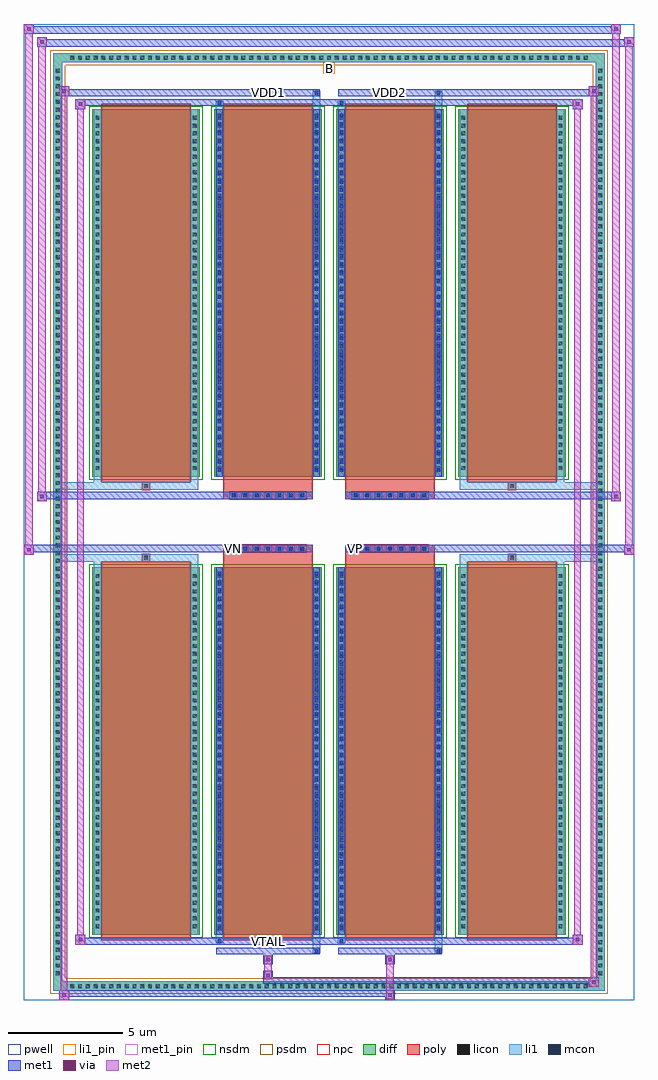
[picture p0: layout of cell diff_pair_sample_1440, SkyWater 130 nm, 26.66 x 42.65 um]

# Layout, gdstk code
import gdstk
lib = gdstk.Library(unit=1e-6, precision=5e-09)
def R(c, l, rs):  # rectangles x0, y0, x1, y1
    for r in rs: c.add(gdstk.rectangle(r[:2], r[2:], *l))
def A(c, l, x, y, w, h, nx, ny, dx, dy):  # array of equal rectangles
    R(c, l, [(x+i*dx, y+j*dy, x+i*dx+w, y+j*dy+h) for i in range(nx) for j in range(ny)])
def P(c, l, *ps):  # polygons
    for p in ps: c.add(gdstk.Polygon(p, *l))
pwell = (64, 44)
diff = (65, 20)
poly = (66, 20)
licon = (66, 44)
li1_pin = (67, 16)
li1 = (67, 20)
mcon = (67, 44)
met1_pin = (68, 16)
met1 = (68, 20)
via = (68, 44)
met2 = (69, 20)
nsdm = (93, 44)
psdm = (94, 20)
npc = (95, 20)

diff_pair_sample_1440 = lib.new_cell('diff_pair_sample_1440')
R(diff_pair_sample_1440, pwell, [(-13.33,-20.89,13.33,21.76), (-10.65,-19.08,-0.01,-0.8), (0.01,-19.08,10.65,-0.8), (-10.65,0.8,-0.01,19.08), (0.01,0.8,10.65,19.08)])
A(diff_pair_sample_1440, diff, -11.425, -20.49, 0.41, 0.41, 67, 2, 0.34, 40.57)
A(diff_pair_sample_1440, diff, -12.06, -19.925, 0.41, 0.41, 1, 117, 0, 0.34)
A(diff_pair_sample_1440, diff, 11.65, -19.925, 0.41, 0.41, 1, 117, 0, 0.34)
A(diff_pair_sample_1440, diff, -10.34, -18.035, 4.69, 16.05, 4, 2, 5.33, 20.02)
R(diff_pair_sample_1440, diff, [(-11.425,-20.49,11.425,-20.08), (-12.06,-19.925,-11.65,19.925), (11.65,-19.925,12.06,19.925), (-11.425,20.08,11.425,20.49)])
P(diff_pair_sample_1440, diff, [(12.06,20.49),(-12.06,20.49),(-12.06,-20.08),(-11.65,-20.08),(-11.65,20.08),(11.65,20.08),(11.65,-20.08),(-11.65,-20.08),(-12.06,-20.08),(-12.06,-20.49),(12.06,-20.49)])
A(diff_pair_sample_1440, poly, -9.95, -18.285, 3.91, 16.55, 4, 2, 5.33, 20.02)
A(diff_pair_sample_1440, poly, -4.33, -1.33, 0.33, 0.33, 7, 2, 0.5, 2.33)
A(diff_pair_sample_1440, poly, 1, -1.33, 0.33, 0.33, 7, 2, 0.5, 2.33)
R(diff_pair_sample_1440, poly, [(-8.16,-1.735,-7.83,-1.405), (-8.16,-1.735,-7.83,-1.405), (-4.62,-1.735,-0.71,-1.33), (0.71,-1.735,4.62,-1.33), (7.83,-1.735,8.16,-1.405), (7.83,-1.735,8.16,-1.405), (-4.62,-1.33,-0.71,-1), (0.71,-1.33,4.62,-1), (-4.62,1,-0.71,1.33), (0.71,1,4.62,1.33), (-4.62,1.33,-0.71,1.735), (0.71,1.33,4.62,1.735), (-8.16,1.405,-7.83,1.735), (-8.16,1.405,-7.83,1.735), (7.83,1.405,8.16,1.735), (7.83,1.405,8.16,1.735)])
A(diff_pair_sample_1440, licon, -11.305, -20.37, 0.17, 0.17, 67, 2, 0.34, 40.57)
A(diff_pair_sample_1440, licon, -11.94, -19.805, 0.17, 0.17, 1, 117, 0, 0.34)
A(diff_pair_sample_1440, licon, 11.77, -19.805, 0.17, 0.17, 1, 117, 0, 0.34)
A(diff_pair_sample_1440, licon, -10.2, -17.745, 0.17, 0.17, 1, 46, 0, 0.34)
A(diff_pair_sample_1440, licon, -5.96, -17.745, 0.17, 0.17, 1, 46, 0, 0.34)
A(diff_pair_sample_1440, licon, -4.87, -17.745, 0.17, 0.17, 1, 46, 0, 0.34)
A(diff_pair_sample_1440, licon, -0.63, -17.745, 0.17, 0.17, 1, 46, 0, 0.34)
A(diff_pair_sample_1440, licon, 0.46, -17.745, 0.17, 0.17, 1, 46, 0, 0.34)
A(diff_pair_sample_1440, licon, 4.7, -17.745, 0.17, 0.17, 1, 46, 0, 0.34)
A(diff_pair_sample_1440, licon, 5.79, -17.745, 0.17, 0.17, 1, 46, 0, 0.34)
A(diff_pair_sample_1440, licon, 10.03, -17.745, 0.17, 0.17, 1, 46, 0, 0.34)
A(diff_pair_sample_1440, licon, -4.25, -1.25, 0.17, 0.17, 7, 2, 0.5, 2.33)
A(diff_pair_sample_1440, licon, 1.08, -1.25, 0.17, 0.17, 7, 2, 0.5, 2.33)
A(diff_pair_sample_1440, licon, -10.2, 2.275, 0.17, 0.17, 1, 46, 0, 0.34)
A(diff_pair_sample_1440, licon, -5.96, 2.275, 0.17, 0.17, 1, 46, 0, 0.34)
A(diff_pair_sample_1440, licon, -4.87, 2.275, 0.17, 0.17, 1, 46, 0, 0.34)
A(diff_pair_sample_1440, licon, -0.63, 2.275, 0.17, 0.17, 1, 46, 0, 0.34)
A(diff_pair_sample_1440, licon, 0.46, 2.275, 0.17, 0.17, 1, 46, 0, 0.34)
A(diff_pair_sample_1440, licon, 4.7, 2.275, 0.17, 0.17, 1, 46, 0, 0.34)
A(diff_pair_sample_1440, licon, 5.79, 2.275, 0.17, 0.17, 1, 46, 0, 0.34)
A(diff_pair_sample_1440, licon, 10.03, 2.275, 0.17, 0.17, 1, 46, 0, 0.34)
R(diff_pair_sample_1440, licon, [(-8.08,-1.655,-7.91,-1.485), (7.91,-1.655,8.08,-1.485), (-8.08,1.485,-7.91,1.655), (7.91,1.485,8.08,1.655)])
R(diff_pair_sample_1440, li1_pin, [(-0.25,19.58,0.25,20.08)])
A(diff_pair_sample_1440, li1, -11.385, -20.45, 0.33, 0.33, 67, 2, 0.34, 40.57)
A(diff_pair_sample_1440, li1, -12.02, -19.885, 0.33, 0.33, 1, 117, 0, 0.34)
A(diff_pair_sample_1440, li1, 11.69, -19.885, 0.33, 0.33, 1, 117, 0, 0.34)
A(diff_pair_sample_1440, li1, -4.87, -17.835, 0.17, 0.17, 1, 44, 0, 0.36)
A(diff_pair_sample_1440, li1, -0.63, -17.835, 0.17, 0.17, 1, 44, 0, 0.36)
A(diff_pair_sample_1440, li1, 0.46, -17.835, 0.17, 0.17, 1, 44, 0, 0.36)
A(diff_pair_sample_1440, li1, 4.7, -17.835, 0.17, 0.17, 1, 44, 0, 0.36)
A(diff_pair_sample_1440, li1, -10.28, -17.825, 0.33, 0.33, 1, 46, 0, 0.34)
A(diff_pair_sample_1440, li1, -6.04, -17.825, 0.33, 0.33, 1, 46, 0, 0.34)
A(diff_pair_sample_1440, li1, -4.95, -17.825, 0.33, 0.33, 1, 46, 0, 0.34)
A(diff_pair_sample_1440, li1, -0.71, -17.825, 0.33, 0.33, 1, 46, 0, 0.34)
A(diff_pair_sample_1440, li1, 0.38, -17.825, 0.33, 0.33, 1, 46, 0, 0.34)
A(diff_pair_sample_1440, li1, 4.62, -17.825, 0.33, 0.33, 1, 46, 0, 0.34)
A(diff_pair_sample_1440, li1, 5.71, -17.825, 0.33, 0.33, 1, 46, 0, 0.34)
A(diff_pair_sample_1440, li1, 9.95, -17.825, 0.33, 0.33, 1, 46, 0, 0.34)
A(diff_pair_sample_1440, li1, -4.33, -1.33, 0.33, 0.33, 7, 2, 0.5, 2.33)
A(diff_pair_sample_1440, li1, 1, -1.33, 0.33, 0.33, 7, 2, 0.5, 2.33)
A(diff_pair_sample_1440, li1, -4.87, 2.185, 0.17, 0.17, 1, 44, 0, 0.36)
A(diff_pair_sample_1440, li1, -0.63, 2.185, 0.17, 0.17, 1, 44, 0, 0.36)
A(diff_pair_sample_1440, li1, 0.46, 2.185, 0.17, 0.17, 1, 44, 0, 0.36)
A(diff_pair_sample_1440, li1, 4.7, 2.185, 0.17, 0.17, 1, 44, 0, 0.36)
A(diff_pair_sample_1440, li1, -10.28, 2.195, 0.33, 0.33, 1, 46, 0, 0.34)
A(diff_pair_sample_1440, li1, -6.04, 2.195, 0.33, 0.33, 1, 46, 0, 0.34)
A(diff_pair_sample_1440, li1, -4.95, 2.195, 0.33, 0.33, 1, 46, 0, 0.34)
A(diff_pair_sample_1440, li1, -0.71, 2.195, 0.33, 0.33, 1, 46, 0, 0.34)
A(diff_pair_sample_1440, li1, 0.38, 2.195, 0.33, 0.33, 1, 46, 0, 0.34)
A(diff_pair_sample_1440, li1, 4.62, 2.195, 0.33, 0.33, 1, 46, 0, 0.34)
A(diff_pair_sample_1440, li1, 5.71, 2.195, 0.33, 0.33, 1, 46, 0, 0.34)
A(diff_pair_sample_1440, li1, 9.95, 2.195, 0.33, 0.33, 1, 46, 0, 0.34)
R(diff_pair_sample_1440, li1, [(-12.06,-20.49,-11.65,-20.08), (-12.06,-20.49,-11.65,-20.08), (-11.65,-20.49,11.65,-20.08), (11.65,-20.49,12.06,-20.08), (11.65,-20.49,12.06,-20.08), (-12.06,-20.08,-11.65,20.08), (11.65,-20.08,12.06,20.08), (-0.71,-18.84,-0.38,-18.035), (-0.63,-18.84,-0.46,-18.67), (4.62,-18.84,4.95,-18.035), (4.7,-18.84,4.87,-18.67), (-4.95,-18.41,-4.62,-18.035), (-4.87,-18.41,-4.7,-18.24), (0.38,-18.41,0.71,-18.035), (0.46,-18.41,0.63,-18.24), (-10.28,-18.035,-9.95,-1.985), (-6.04,-18.035,-5.71,-1.985), (-4.95,-18.035,-4.62,-1.985), (-0.71,-18.035,-0.38,-1.985), (0.38,-18.035,0.71,-1.985), (4.62,-18.035,4.95,-1.985), (5.71,-18.035,6.04,-1.985), (9.95,-18.035,10.28,-1.985), (-4.87,-17.835,-4.7,-2.185), (-0.63,-17.835,-0.46,-2.185), (0.46,-17.835,0.63,-2.185), (4.7,-17.835,4.87,-2.185), (-10.28,-1.985,-9.95,-1.405), (-6.04,-1.985,-5.71,-1.405), (5.71,-1.985,6.04,-1.405), (9.95,-1.985,10.28,-1.405), (-12.06,-1.735,-8.16,-1.405), (-10.28,-1.735,-8.16,-1.405), (-8.16,-1.735,-7.83,-1.405), (-7.83,-1.735,-5.71,-1.405), (5.71,-1.735,7.83,-1.405), (7.83,-1.735,8.16,-1.405), (7.83,-1.735,12.06,-1.405), (8.16,-1.735,10.28,-1.405), (-12.06,1.405,-8.16,1.735), (-10.28,1.405,-8.16,1.735), (-10.28,1.405,-9.95,1.985), (-8.16,1.405,-7.83,1.735), (-7.83,1.405,-5.71,1.735), (-6.04,1.405,-5.71,1.985), (5.71,1.405,7.83,1.735), (5.71,1.405,6.04,1.985), (7.83,1.405,8.16,1.735), (7.83,1.405,12.06,1.735), (8.16,1.405,10.28,1.735), (9.95,1.405,10.28,1.985), (-10.28,1.985,-9.95,18.035), (-6.04,1.985,-5.71,18.035), (-4.95,1.985,-4.62,18.035), (-0.71,1.985,-0.38,18.035), (0.38,1.985,0.71,18.035), (4.62,1.985,4.95,18.035), (5.71,1.985,6.04,18.035), (9.95,1.985,10.28,18.035), (-4.87,2.185,-4.7,17.835), (-0.63,2.185,-0.46,17.835), (0.46,2.185,0.63,17.835), (4.7,2.185,4.87,17.835), (-4.95,18.035,-4.62,18.41), (-0.71,18.035,-0.38,18.84), (0.38,18.035,0.71,18.41), (4.62,18.035,4.95,18.84), (-4.87,18.24,-4.7,18.41), (0.46,18.24,0.63,18.41), (-0.63,18.67,-0.46,18.84), (4.7,18.67,4.87,18.84), (-12.06,20.08,-11.65,20.49), (-12.06,20.08,-11.65,20.49), (-11.65,20.08,11.65,20.49), (11.65,20.08,12.06,20.49), (11.65,20.08,12.06,20.49)])
A(diff_pair_sample_1440, mcon, -4.87, -17.835, 0.17, 0.17, 1, 44, 0, 0.36)
A(diff_pair_sample_1440, mcon, -0.63, -17.835, 0.17, 0.17, 1, 44, 0, 0.36)
A(diff_pair_sample_1440, mcon, 0.46, -17.835, 0.17, 0.17, 1, 44, 0, 0.36)
A(diff_pair_sample_1440, mcon, 4.7, -17.835, 0.17, 0.17, 1, 44, 0, 0.36)
A(diff_pair_sample_1440, mcon, -4.25, -1.25, 0.17, 0.17, 7, 2, 0.5, 2.33)
A(diff_pair_sample_1440, mcon, 1.08, -1.25, 0.17, 0.17, 7, 2, 0.5, 2.33)
A(diff_pair_sample_1440, mcon, -4.87, 2.185, 0.17, 0.17, 1, 44, 0, 0.36)
A(diff_pair_sample_1440, mcon, -0.63, 2.185, 0.17, 0.17, 1, 44, 0, 0.36)
A(diff_pair_sample_1440, mcon, 0.46, 2.185, 0.17, 0.17, 1, 44, 0, 0.36)
A(diff_pair_sample_1440, mcon, 4.7, 2.185, 0.17, 0.17, 1, 44, 0, 0.36)
R(diff_pair_sample_1440, mcon, [(-0.63,-18.84,-0.46,-18.67), (4.7,-18.84,4.87,-18.67), (-4.87,-18.41,-4.7,-18.24), (0.46,-18.41,0.63,-18.24), (-4.87,18.24,-4.7,18.41), (0.46,18.24,0.63,18.41), (-0.63,18.67,-0.46,18.84), (4.7,18.67,4.87,18.84)])
R(diff_pair_sample_1440, met1_pin, [(-2.8,-18.45,-2.53,-18.18), (-4.3,-1.29,-4.03,-1.02), (1.03,-1.29,1.3,-1.02), (-2.8,18.63,-2.53,18.9), (2.53,18.63,2.8,18.9)])
A(diff_pair_sample_1440, met1, -4.93, -17.895, 0.29, 0.29, 1, 44, 0, 0.36)
A(diff_pair_sample_1440, met1, -0.69, -17.895, 0.29, 0.29, 1, 44, 0, 0.36)
A(diff_pair_sample_1440, met1, 0.4, -17.895, 0.29, 0.29, 1, 44, 0, 0.36)
A(diff_pair_sample_1440, met1, 4.64, -17.895, 0.29, 0.29, 1, 44, 0, 0.36)
A(diff_pair_sample_1440, met1, -4.31, -1.31, 0.29, 0.29, 7, 2, 0.5, 2.33)
A(diff_pair_sample_1440, met1, 1.02, -1.31, 0.29, 0.29, 7, 2, 0.5, 2.33)
A(diff_pair_sample_1440, met1, -4.93, 2.125, 0.29, 0.29, 1, 44, 0, 0.36)
A(diff_pair_sample_1440, met1, -0.69, 2.125, 0.29, 0.29, 1, 44, 0, 0.36)
A(diff_pair_sample_1440, met1, 0.4, 2.125, 0.29, 0.29, 1, 44, 0, 0.36)
A(diff_pair_sample_1440, met1, 4.64, 2.125, 0.29, 0.29, 1, 44, 0, 0.36)
R(diff_pair_sample_1440, met1, [(-11.79,-20.89,-11.36,-20.46), (2.45,-20.89,2.88,-20.46), (-11.79,-20.75,2.88,-20.46), (11.36,-20.32,11.79,-19.89), (-2.88,-20.18,11.79,-19.89), (-2.88,-20.04,-2.45,-19.61), (-2.88,-19.33,-2.45,-18.9), (2.45,-19.33,2.88,-18.9), (-4.93,-18.9,-0.4,-18.61), (-0.69,-18.9,-0.4,-18.61), (0.4,-18.9,4.93,-18.61), (4.64,-18.9,4.93,-18.61), (-11.08,-18.47,-10.65,-18.04), (-11.08,-18.47,-4.93,-18.18), (-4.93,-18.47,-4.64,-18.18), (-4.93,-18.47,-0.4,-18.18), (-0.4,-18.47,0.4,-18.18), (0.4,-18.47,0.69,-18.18), (0.4,-18.47,4.93,-18.18), (4.93,-18.47,11.08,-18.18), (10.65,-18.47,11.08,-18.04), (-4.93,-18.035,-4.64,-1.985), (-0.69,-18.035,-0.4,-1.985), (0.4,-18.035,0.69,-1.985), (4.64,-18.035,4.93,-1.985), (-13.33,-1.43,-12.9,-1), (12.9,-1.43,13.33,-1), (-13.33,-1.33,-0.71,-1), (-4.62,-1.33,-0.71,-1), (0.71,-1.33,4.62,-1), (0.71,-1.33,13.33,-1), (-12.76,0.9,-12.33,1.33), (12.33,0.9,12.76,1.33), (-12.76,1,-4.62,1.33), (-4.62,1,-0.71,1.33), (0.71,1,4.62,1.33), (4.62,1,12.76,1.33), (-4.93,1.985,-4.64,18.035), (-0.69,1.985,-0.4,18.035), (0.4,1.985,0.69,18.035), (4.64,1.985,4.93,18.035), (-11.08,18.04,-10.65,18.47), (10.65,18.04,11.08,18.47), (-11.08,18.18,-4.93,18.47), (-4.93,18.18,-4.64,18.47), (-4.93,18.18,-0.4,18.47), (-0.4,18.18,0.4,18.47), (0.4,18.18,0.69,18.47), (0.4,18.18,4.93,18.47), (4.93,18.18,11.08,18.47), (-11.79,18.61,-11.36,19.04), (-11.79,18.61,-4.93,18.9), (-4.93,18.61,-0.4,18.9), (-0.69,18.61,-0.4,18.9), (0.4,18.61,4.93,18.9), (4.64,18.61,4.93,18.9), (4.93,18.61,11.79,18.9), (11.36,18.61,11.79,19.04), (-12.76,20.76,-12.33,21.19), (-12.76,20.76,-10.65,21.09), (-10.65,20.76,10.65,21.09), (10.65,20.76,13.33,21.09), (12.9,20.76,13.33,21.19), (-13.33,21.33,-12.9,21.76), (-13.33,21.33,-10.65,21.66), (-10.65,21.33,10.65,21.66), (10.65,21.33,12.76,21.66), (12.33,21.33,12.76,21.76)])
R(diff_pair_sample_1440, via, [(-11.65,-20.75,-11.5,-20.6), (2.59,-20.75,2.74,-20.6), (11.5,-20.18,11.65,-20.03), (-2.74,-19.9,-2.59,-19.75), (-2.74,-19.19,-2.59,-19.04), (2.59,-19.19,2.74,-19.04), (-10.94,-18.33,-10.79,-18.18), (10.79,-18.33,10.94,-18.18), (-13.19,-1.29,-13.04,-1.14), (13.04,-1.29,13.19,-1.14), (-12.62,1.04,-12.47,1.19), (12.47,1.04,12.62,1.19), (-10.94,18.18,-10.79,18.33), (10.79,18.18,10.94,18.33), (-11.65,18.75,-11.5,18.9), (11.5,18.75,11.65,18.9), (-12.62,20.9,-12.47,21.05), (13.04,20.9,13.19,21.05), (-13.19,21.47,-13.04,21.62), (12.47,21.47,12.62,21.62)])
R(diff_pair_sample_1440, met2, [(-11.79,-20.89,-11.36,-20.46), (-11.72,-20.89,-11.43,19.04), (-11.43,-20.89,-11.36,-20.46), (-11.74,-20.84,-11.41,-20.51), (2.5,-20.84,2.83,-20.51), (2.5,-20.51,2.83,-19.28), (11.36,-20.32,11.79,-19.89), (11.43,-20.32,11.72,19.04), (11.72,-20.32,11.79,-19.89), (11.41,-20.27,11.74,-19.94), (-2.83,-19.99,-2.5,-19.66), (-2.83,-19.66,-2.5,-19.28), (-2.83,-19.28,-2.5,-18.95), (2.5,-19.28,2.83,-18.95), (-11.08,-18.47,-10.65,-18.04), (-11.01,-18.47,-10.72,18.47), (-10.72,-18.47,-10.65,-18.04), (10.65,-18.47,11.08,-18.04), (10.72,-18.47,11.01,18.47), (11.01,-18.47,11.08,-18.04), (-11.03,-18.42,-10.7,-18.09), (10.7,-18.42,11.03,-18.09), (-13.33,-1.43,-12.9,-1), (-13.28,-1.43,-12.95,21.76), (-12.95,-1.43,-12.9,-1), (12.9,-1.43,13.33,-1), (12.95,-1.43,13.28,21.19), (13.28,-1.43,13.33,-1), (-13.28,-1.38,-12.95,-1.05), (12.95,-1.38,13.28,-1.05), (-12.76,0.9,-12.33,1.33), (-12.71,0.9,-12.38,21.19), (-12.38,0.9,-12.33,1.33), (12.33,0.9,12.76,1.33), (12.38,0.9,12.71,21.76), (12.71,0.9,12.76,1.33), (-12.71,0.95,-12.38,1.28), (12.38,0.95,12.71,1.28), (-11.08,18.04,-10.65,18.47), (-10.72,18.04,-10.65,18.47), (10.65,18.04,11.08,18.47), (11.01,18.04,11.08,18.47), (-11.03,18.09,-10.7,18.42), (10.7,18.09,11.03,18.42), (-11.79,18.61,-11.36,19.04), (-11.43,18.61,-11.36,19.04), (11.36,18.61,11.79,19.04), (11.72,18.61,11.79,19.04), (-11.74,18.66,-11.41,18.99), (11.41,18.66,11.74,18.99), (-12.76,20.76,-12.33,21.19), (-12.38,20.76,-12.33,21.19), (12.9,20.76,13.33,21.19), (13.28,20.76,13.33,21.19), (-12.71,20.81,-12.38,21.14), (12.95,20.81,13.28,21.14), (-13.33,21.33,-12.9,21.76), (-12.95,21.33,-12.9,21.76), (12.33,21.33,12.76,21.76), (12.71,21.33,12.76,21.76), (-13.28,21.38,-12.95,21.71), (12.38,21.38,12.71,21.71)])
A(diff_pair_sample_1440, nsdm, -10.47, -18.165, 4.95, 16.31, 4, 2, 5.33, 20.02)
P(diff_pair_sample_1440, psdm, [(12.19,20.62),(-12.19,20.62),(-12.19,-19.95),(-11.52,-19.95),(-11.52,19.95),(11.52,19.95),(11.52,-19.95),(-11.52,-19.95),(-12.19,-19.95),(-12.19,-20.62),(12.19,-20.62)])
A(diff_pair_sample_1440, npc, -4.35, -1.35, 0.37, 0.37, 7, 2, 0.5, 2.33)
A(diff_pair_sample_1440, npc, 0.98, -1.35, 0.37, 0.37, 7, 2, 0.5, 2.33)
R(diff_pair_sample_1440, npc, [(-8.18,-1.755,-7.81,-1.385), (7.81,-1.755,8.18,-1.385), (-4.35,-1.35,-3.48,-0.98), (-4.35,-1.35,-3.48,-0.98), (-3.85,-1.35,-2.98,-0.98), (-3.85,-1.35,-2.98,-0.98), (-3.35,-1.35,-2.48,-0.98), (-3.35,-1.35,-2.48,-0.98), (-2.85,-1.35,-1.98,-0.98), (-2.85,-1.35,-1.98,-0.98), (-2.35,-1.35,-1.48,-0.98), (-2.35,-1.35,-1.48,-0.98), (-1.85,-1.35,-0.98,-0.98), (-1.85,-1.35,-0.98,-0.98), (0.98,-1.35,1.85,-0.98), (0.98,-1.35,1.85,-0.98), (1.48,-1.35,2.35,-0.98), (1.48,-1.35,2.35,-0.98), (1.98,-1.35,2.85,-0.98), (1.98,-1.35,2.85,-0.98), (2.48,-1.35,3.35,-0.98), (2.48,-1.35,3.35,-0.98), (2.98,-1.35,3.85,-0.98), (2.98,-1.35,3.85,-0.98), (3.48,-1.35,4.35,-0.98), (3.48,-1.35,4.35,-0.98), (-4.35,0.98,-3.48,1.35), (-4.35,0.98,-3.48,1.35), (-3.85,0.98,-2.98,1.35), (-3.85,0.98,-2.98,1.35), (-3.35,0.98,-2.48,1.35), (-3.35,0.98,-2.48,1.35), (-2.85,0.98,-1.98,1.35), (-2.85,0.98,-1.98,1.35), (-2.35,0.98,-1.48,1.35), (-2.35,0.98,-1.48,1.35), (-1.85,0.98,-0.98,1.35), (-1.85,0.98,-0.98,1.35), (0.98,0.98,1.85,1.35), (0.98,0.98,1.85,1.35), (1.48,0.98,2.35,1.35), (1.48,0.98,2.35,1.35), (1.98,0.98,2.85,1.35), (1.98,0.98,2.85,1.35), (2.48,0.98,3.35,1.35), (2.48,0.98,3.35,1.35), (2.98,0.98,3.85,1.35), (2.98,0.98,3.85,1.35), (3.48,0.98,4.35,1.35), (3.48,0.98,4.35,1.35), (-8.18,1.385,-7.81,1.755), (7.81,1.385,8.18,1.755)])
diff_pair_sample_1440.add(gdstk.Label('VTAIL', (-2.665,-18.315), layer=68, texttype=5))
diff_pair_sample_1440.add(gdstk.Label('VN', (-4.165,-1.155), layer=68, texttype=5))
diff_pair_sample_1440.add(gdstk.Label('VP', (1.165,-1.155), layer=68, texttype=5))
diff_pair_sample_1440.add(gdstk.Label('B', (0,19.83), layer=67, texttype=5))
diff_pair_sample_1440.add(gdstk.Label('VDD2', (2.665,18.765), layer=68, texttype=5))
diff_pair_sample_1440.add(gdstk.Label('VDD1', (-2.665,18.765), layer=68, texttype=5))

lib.write_gds('diff_pair_sample_1440.gds')
